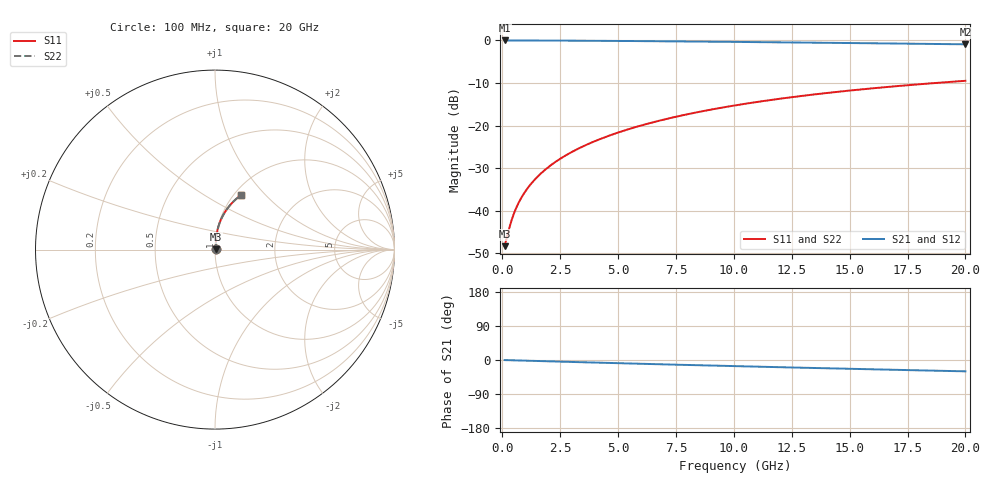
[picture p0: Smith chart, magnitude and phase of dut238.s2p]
! Touchstone file exported from HFSS 2024.1.0
!  File:  C:/UserFiles/LocalFiles/RDL_TSV_Batchsim/temp_RDL_top_238_1778688434.aedt
!  Generated:  12:09:28 AM May 14, 2026
!  Design:  RDL_top
!  Project:  temp_RDL_top_238_1778688434
!  Setup:  Setup1
!  Solution:  Sweep
! Variables:
!  dtsv = 10.80580581um
!  hbump = 3um
!  htsv = 64.06um
!  ldown = 100um
!  lrdl = 355.93um
!  p = 40
!  p1 = 55.35um
!  rhole = 1um
!  t = 450um
!  tdown = 3.915915916um
!  trdl = 2.02um
!  wdown = 15.38538539um
!  wrdl = 20.29um
# GHz S MA R 50.000000
! Terminal data exported
! Port[1] = Box2_T1
! Port[2] = Box2_T2
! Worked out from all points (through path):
!   200 points, 100 MHz to 20 GHz, reference 50 ohm
!   highest |S21| = -0.03 dB at 100 MHz (marker M1); lowest = -0.9 dB at 20 GHz (marker M2)
!   group delay of S21, straight-line fit = 4.13 ps
!   lowest |S11| = -48.3 dB at 100 MHz (marker M3), VSWR 1.01, Z = 50.3 + j0.174 ohm
!   |S11| at or under -10 dB: start of sweep to 18.74 GHz
!   |S22| runs from -48.3 to -9.5 dB; largest |S21 - S12| = 5.3e-15
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0.1  0.003837 26.7  0.9966 -0.2  0.9966 -0.2  0.003837 26.7
! Gamma 0 0 0 0
! Port Impedance 50 0 50 0
0.3  0.006243 55.2  0.9964 -0.5  0.9964 -0.5  0.006243 55.2
0.4  0.007714 61.7  0.9963 -0.7  0.9963 -0.7  0.007714 61.7
0.5  0.009231 66.0  0.9961 -0.9  0.9961 -0.9  0.009231 66.0
0.6  0.01077 69.0  0.996 -1.1  0.996 -1.1  0.01077 69.0
0.7  0.01231 71.3  0.9958 -1.2  0.9958 -1.2  0.01231 71.3
0.9  0.01539 74.5  0.9955 -1.6  0.9955 -1.6  0.01539 74.5
1.2  0.02005 77.5  0.995 -2.1  0.995 -2.1  0.02005 77.5
1.4  0.02317 78.9  0.9947 -2.4  0.9947 -2.4  0.02317 78.9
1.7  0.02789 80.4  0.9941 -3.0  0.9941 -3.0  0.02789 80.4
2.2  0.03586 82.1  0.9931 -3.8  0.9931 -3.8  0.03586 82.1
2.8  0.0456 83.2  0.9915 -4.8  0.9915 -4.8  0.0456 83.2
3.5  0.05717 83.8  0.9894 -6.0  0.9894 -6.0  0.05717 83.8
4.2  0.06896 83.9  0.9869 -7.1  0.9869 -7.1  0.06897 83.9
5  0.08269 83.8  0.9837 -8.4  0.9837 -8.4  0.0827 83.8
5.9  0.0984 83.3  0.9798 -9.9  0.9798 -9.9  0.0984 83.3
6.8  0.1143 82.5  0.9756 -11.3  0.9756 -11.3  0.1143 82.5
8.4  0.1428 80.8  0.9675 -13.7  0.9675 -13.7  0.1429 80.8
10.1  0.1731 78.6  0.9584 -16.3  0.9584 -16.3  0.1732 78.6
13.4  0.2305 74.0  0.9394 -21.0  0.9394 -21.0  0.2306 74.0
16.7  0.2847 69.2  0.9191 -25.6  0.9191 -25.6  0.2847 69.2
20  0.3348 64.6  0.8979 -29.9  0.8979 -29.9  0.3349 64.6
